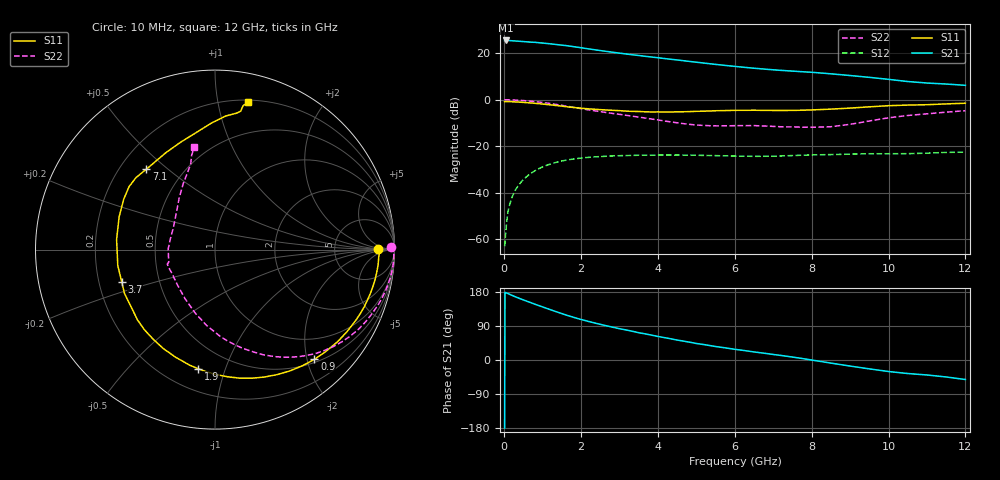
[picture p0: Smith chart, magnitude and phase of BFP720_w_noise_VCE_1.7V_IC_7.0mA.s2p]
! Infineon Technologies  Discrete & RF Semiconductors
! BFP720
! VCE =  1.7 V,  IC =  7.0 mA
! Common Emitter S-Parameters:  Aug 2012
# GHz  S  MA  R  50
!  f  S11  S21  S12  S22
! GHz  MAG  ANG  MAG  ANG  MAG  ANG  MAG  ANG
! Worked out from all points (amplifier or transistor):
!   105 points, 10 MHz to 12 GHz, reference 50 ohm
!   highest |S21| = 25.6 dB at 50 MHz (marker M1)
!   |S21| within 3 dB of that: start of sweep to 1.939 GHz
!   unconditionally stable (mu >= 1): start of sweep to 11.54 MHz; 6.19 GHz to 11.51 GHz
!   at 300 MHz: K = 0.06, MSG = 32.0 dB, |S12| = -38.6 dB
!   at 3.6 GHz: K = 0.58, MSG = 21.4 dB, |S12| = -23.9 dB
!   at 12 GHz: K = 0.86, MSG = 14.4 dB, |S12| = -22.6 dB
!   lowest NFmin = 0.44 dB at 450 MHz
!   S11 on the Smith chart (normalised r, x): 10 MHz: 21, +0; 900 MHz: 0.56, -2.14; 1.9 GHz: 0.34, -0.81; 3.7 GHz: 0.30, -0.16; 7.1 GHz: 0.31, +0.42; 12 GHz: 0.21, +1.23
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0.01  0.9106 0.1  18.8 -179.8  0.0007 5.5  0.9801 1.0
0.02  0.9158 -1.0  18.77 178.6  0.0008 78.2  0.9968 -0.6
0.05  0.9132 -2.7  19.01 177.3  0.0017 84.2  0.9967 -1.8
0.2  0.9074 -10.7  18.72 170.7  0.0078 83.5  0.9922 -7.4
0.45  0.8844 -23.8  18.1 160.4  0.0173 75.9  0.9681 -16.5
0.9  0.8251 -47.8  17 143.6  0.0328 62.2  0.895 -32.5
1.2  0.7776 -63.6  16.06 132.8  0.0413 53.6  0.8302 -42.5
1.4  0.7456 -73.9  15.38 125.9  0.0459 48.2  0.7828 -48.8
1.6  0.7122 -84.3  14.77 119.0  0.0498 43.2  0.7345 -54.7
1.9  0.6701 -98.0  13.61 109.8  0.0543 36.6  0.6664 -62.7
2.1  0.6473 -106.2  12.86 104.3  0.0565 32.7  0.6252 -67.5
2.4  0.6221 -117.6  11.83 96.5  0.0591 27.5  0.5714 -74.3
2.8  0.5951 -131.3  10.65 87.0  0.0615 21.7  0.5116 -82.5
3.7  0.5502 -160.7  8.604 68.3  0.0641 11.6  0.4 -100.6
4.1  0.5462 -173.7  7.881 60.3  0.0645 7.9  0.357 -110.3
5  0.5645 161.1  6.46 43.6  0.0638 0.9  0.2865 -137.3
6.1  0.5933 142.6  5.151 26.9  0.0611 -3.4  0.2769 -160.0
7.1  0.5893 130.6  4.369 13.3  0.0612 -3.7  0.2644 -167.8
8.5  0.6291 107.5  3.631 -8.2  0.0659 -7.7  0.2626 151.8
9.5  0.7054 91.6  3.048 -23.4  0.0688 -11.5  0.3493 124.9
10.5  0.7692 81.1  2.476 -35.7  0.069 -14.8  0.4593 109.2
12  0.8436 77.4  2.051 -51.5  0.0744 -20.5  0.5827 101.4
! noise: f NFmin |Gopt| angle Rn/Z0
0.45  0.44  0.4  3  -0.03
1.8  0.52  0.37  23  0.13
2.4  0.57  0.28  50  0.26
5.5  0.71  0.17  49  0.16
10  0.94  0.39  -86  0.2
